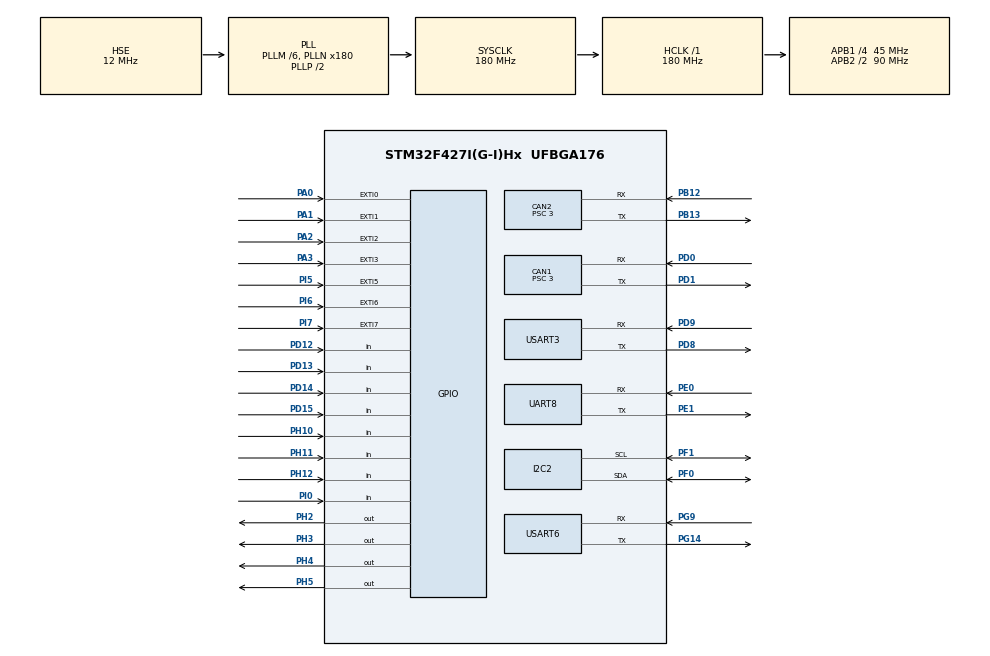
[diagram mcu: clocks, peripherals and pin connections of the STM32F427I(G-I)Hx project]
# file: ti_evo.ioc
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CAN1.BS1=CAN_BS1_7TQ
CAN1.BS2=CAN_BS2_7TQ
CAN1.CalculateBaudRate=1000000
CAN1.CalculateTimeBit=1000
CAN1.CalculateTimeQuantum=66.66666666666666
CAN1.Prescaler=3
CAN2.BS1=CAN_BS1_7TQ
CAN2.BS2=CAN_BS2_7TQ
CAN2.CalculateBaudRate=1000000
CAN2.CalculateTimeBit=1000
CAN2.CalculateTimeQuantum=66.66666666666666
CAN2.Prescaler=3
Dma.Request0=USART6_RX
Dma.Request1=UART8_RX
Dma.UART8_RX.1.Direction=DMA_PERIPH_TO_MEMORY
Dma.UART8_RX.1.FIFOMode=DMA_FIFOMODE_DISABLE
Dma.UART8_RX.1.Instance=DMA1_Stream6
Dma.UART8_RX.1.MemDataAlignment=DMA_MDATAALIGN_BYTE
Dma.UART8_RX.1.MemInc=DMA_MINC_ENABLE
Dma.UART8_RX.1.Mode=DMA_CIRCULAR
Dma.UART8_RX.1.PeriphDataAlignment=DMA_PDATAALIGN_BYTE
Dma.UART8_RX.1.PeriphInc=DMA_PINC_DISABLE
Dma.UART8_RX.1.Priority=DMA_PRIORITY_HIGH
Dma.USART6_RX.0.Direction=DMA_PERIPH_TO_MEMORY
Dma.USART6_RX.0.FIFOMode=DMA_FIFOMODE_DISABLE
Dma.USART6_RX.0.Instance=DMA2_Stream1
Dma.USART6_RX.0.MemDataAlignment=DMA_MDATAALIGN_BYTE
Dma.USART6_RX.0.MemInc=DMA_MINC_ENABLE
Dma.USART6_RX.0.Mode=DMA_CIRCULAR
Dma.USART6_RX.0.PeriphDataAlignment=DMA_PDATAALIGN_BYTE
Dma.USART6_RX.0.PeriphInc=DMA_PINC_DISABLE
Dma.USART6_RX.0.Priority=DMA_PRIORITY_HIGH
FREERTOS.Tasks01=defaultTask,0,128,StartDefaultTask,Default,NULL,Dynamic,NULL,NULL;myTask02,-3,128,StartTask02,Default,NULL,Dynamic,NULL,NULL
Mcu.Family=STM32F4
Mcu.Name=STM32F427I(G-I)Hx
Mcu.Package=UFBGA176
NVIC.CAN1_RX0_IRQn=true\:5\:0\:false\:false\:true\:true\:true\:true\:true
NVIC.CAN1_TX_IRQn=true\:5\:0\:false\:false\:true\:true\:true\:true\:true
NVIC.CAN2_RX0_IRQn=true\:5\:0\:false\:false\:true\:true\:true\:true\:true
NVIC.CAN2_TX_IRQn=true\:5\:0\:false\:false\:true\:true\:true\:true\:true
NVIC.DMA1_Stream6_IRQn=true\:5\:0\:false\:false\:true\:true\:false\:true\:true
NVIC.DMA2_Stream1_IRQn=true\:5\:0\:false\:false\:true\:true\:false\:true\:true
NVIC.I2C2_EV_IRQn=true\:5\:0\:false\:false\:true\:true\:true\:true\:true
NVIC.PriorityGroup=NVIC_PRIORITYGROUP_4
NVIC.TIM2_IRQn=true\:5\:0\:false\:false\:true\:true\:true\:true\:true
NVIC.TIM7_IRQn=true\:15\:0\:false\:false\:true\:false\:false\:true\:true
NVIC.TimeBase=TIM7_IRQn
NVIC.TimeBaseIP=TIM7
NVIC.UART8_IRQn=true\:5\:0\:false\:false\:true\:true\:true\:true\:true
NVIC.USART6_IRQn=true\:5\:0\:false\:false\:true\:true\:true\:true\:true
PA0/WKUP.GPIO_ModeDefaultEXTI=GPIO_MODE_IT_FALLING
PA0/WKUP.GPIO_PuPd=GPIO_PULLUP
PA0/WKUP.Signal=GPXTI0
PA1.GPIO_ModeDefaultEXTI=GPIO_MODE_IT_FALLING
PA1.GPIO_PuPd=GPIO_PULLUP
PA1.Signal=GPXTI1
PA13.Mode=Serial_Wire
PA13.Signal=SYS_JTMS-SWDIO
PA14.Mode=Serial_Wire
PA14.Signal=SYS_JTCK-SWCLK
PA2.GPIO_ModeDefaultEXTI=GPIO_MODE_IT_FALLING
PA2.GPIO_PuPd=GPIO_PULLUP
PA2.Signal=GPXTI2
PA3.GPIO_ModeDefaultEXTI=GPIO_MODE_IT_FALLING
PA3.GPIO_PuPd=GPIO_PULLUP
PA3.Signal=GPXTI3
PB12.Mode=CAN_Activate
PB12.Signal=CAN2_RX
PB13.Mode=CAN_Activate
PB13.Signal=CAN2_TX
PC14/OSC32_IN.Mode=LSE-External-Oscillator
PC14/OSC32_IN.Signal=RCC_OSC32_IN
PC15/OSC32_OUT.Mode=LSE-External-Oscillator
PC15/OSC32_OUT.Signal=RCC_OSC32_OUT
PD0.Mode=CAN_Activate
PD0.Signal=CAN1_RX
PD1.Mode=CAN_Activate
PD1.Signal=CAN1_TX
PD12.Signal=GPIO_Input
PD13.Signal=GPIO_Input
PD14.Signal=GPIO_Input
PD15.Signal=GPIO_Input
PD8.Mode=Asynchronous
PD8.Signal=USART3_TX
PD9.Mode=Asynchronous
PD9.Signal=USART3_RX
PE0.Mode=Asynchronous
PE0.Signal=UART8_RX
PE1.Mode=Asynchronous
PE1.Signal=UART8_TX
PF0.Mode=I2C
PF0.Signal=I2C2_SDA
PF1.Mode=I2C
PF1.Signal=I2C2_SCL
PG14.Mode=Asynchronous
PG14.Signal=USART6_TX
PG9.Mode=Asynchronous
PG9.Signal=USART6_RX
PH0/OSC_IN.Mode=HSE-External-Oscillator
PH0/OSC_IN.Signal=RCC_OSC_IN
PH1/OSC_OUT.Mode=HSE-External-Oscillator
PH1/OSC_OUT.Signal=RCC_OSC_OUT
PH10.Signal=GPIO_Input
PH11.Signal=GPIO_Input
PH12.Signal=GPIO_Input
PH2.GPIO_ModeDefaultOutputPP=GPIO_MODE_OUTPUT_PP
PH2.Signal=GPIO_Output
PH3.GPIO_ModeDefaultOutputPP=GPIO_MODE_OUTPUT_PP
PH3.Signal=GPIO_Output
PH4.GPIO_ModeDefaultOutputPP=GPIO_MODE_OUTPUT_PP
PH4.Signal=GPIO_Output
PH5.GPIO_ModeDefaultOutputPP=GPIO_MODE_OUTPUT_PP
PH5.Signal=GPIO_Output
PI0.Signal=GPIO_Input
PI5.GPIO_ModeDefaultEXTI=GPIO_MODE_IT_FALLING
PI5.GPIO_PuPd=GPIO_PULLUP
PI5.Signal=GPXTI5
PI6.GPIO_ModeDefaultEXTI=GPIO_MODE_IT_FALLING
PI6.GPIO_PuPd=GPIO_PULLUP
PI6.Signal=GPXTI6
PI7.GPIO_ModeDefaultEXTI=GPIO_MODE_IT_FALLING
PI7.GPIO_PuPd=GPIO_PULLUP
PI7.Signal=GPXTI7
ProjectManager.HeapSize=0x200
ProjectManager.StackSize=0x400
ProjectManager.TargetToolchain=CMake
RCC.48MHZClocksFreq_Value=90000000
RCC.AHBFreq_Value=180000000
RCC.APB1CLKDivider=RCC_HCLK_DIV4
RCC.APB1Freq_Value=45000000
RCC.APB1TimFreq_Value=90000000
RCC.APB2CLKDivider=RCC_HCLK_DIV2
RCC.APB2Freq_Value=90000000
RCC.APB2TimFreq_Value=180000000
RCC.CortexFreq_Value=180000000
RCC.HCLKFreq_Value=180000000
RCC.HSE_VALUE=12000000
RCC.HSI_VALUE=16000000
RCC.PLLM=6
RCC.PLLN=180
RCC.PLLSourceVirtual=RCC_PLLSOURCE_HSE
RCC.SYSCLKFreq_VALUE=180000000
RCC.SYSCLKSource=RCC_SYSCLKSOURCE_PLLCLK
RCC.VCOOutputFreq_Value=360000000
TIM2.AutoReloadPreload=TIM_AUTORELOAD_PRELOAD_ENABLE
TIM2.Period=99999
TIM2.Prescaler=89
UART8.VirtualMode=Asynchronous
USART3.VirtualMode=VM_ASYNC
USART6.VirtualMode=VM_ASYNC
VP_FREERTOS_VS_CMSIS_V1.Mode=CMSIS_V1
VP_SYS_VS_tim7.Mode=TIM7
VP_TIM2_VS_ClockSourceINT.Mode=Internal
board=custom

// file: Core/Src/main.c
/* USER CODE BEGIN Header */
/**
  ******************************************************************************
  * @file           : main.c
  * @brief          : Main program body
  ******************************************************************************
  * @attention
  *
  * Copyright (c) 2026 STMicroelectronics.
  * All rights reserved.
  *
  * This software is licensed under terms that can be found in the LICENSE file
  * in the root directory of this software component.
  * If no LICENSE file comes with this software, it is provided AS-IS.
  *
  ******************************************************************************
  */
/* USER CODE END Header */
#include "main.h"
#include "cmsis_os.h"
#include "can.h"
#include "dma.h"
#include "i2c.h"
#include "tim.h"
#include "usart.h"
#include "gpio.h"

/* USER CODE BEGIN Includes */
#include "wt_901.h"

/* USER CODE END Includes */

void SystemClock_Config(void);
void MX_FREERTOS_Init(void);

int main(void)
{

  /* MCU Configuration--------------------------------------------------------*/

  /* Reset of all peripherals, Initializes the Flash interface and the Systick. */
  HAL_Init();

  /* Configure the system clock */
  SystemClock_Config();

  /* Initialize all configured peripherals */
  MX_GPIO_Init();
  MX_DMA_Init();
  MX_CAN1_Init();
  MX_UART8_Init();
  MX_USART3_UART_Init();
  MX_USART6_UART_Init();
  MX_TIM2_Init();
  MX_CAN2_Init();
  MX_I2C2_Init();

  /* Call init function for freertos objects (in cmsis_os2.c) */
  MX_FREERTOS_Init();

  /* Start scheduler */
  osKernelStart();

  /* We should never get here as control is now taken by the scheduler */

  /* Infinite loop */
  while (1)
  {

  }
}

void SystemClock_Config(void)
{
  RCC_OscInitTypeDef RCC_OscInitStruct = {0};
  RCC_ClkInitTypeDef RCC_ClkInitStruct = {0};

  /** Configure the main internal regulator output voltage
  */
  __HAL_RCC_PWR_CLK_ENABLE();
  __HAL_PWR_VOLTAGESCALING_CONFIG(PWR_REGULATOR_VOLTAGE_SCALE1);

  /** Initializes the RCC Oscillators according to the specified parameters
  * in the RCC_OscInitTypeDef structure.
  */
  RCC_OscInitStruct.OscillatorType = RCC_OSCILLATORTYPE_HSE;
  RCC_OscInitStruct.HSEState = RCC_HSE_ON;
  RCC_OscInitStruct.PLL.PLLState = RCC_PLL_ON;
  RCC_OscInitStruct.PLL.PLLSource = RCC_PLLSOURCE_HSE;
  RCC_OscInitStruct.PLL.PLLM = 6;
  RCC_OscInitStruct.PLL.PLLN = 180;
  RCC_OscInitStruct.PLL.PLLP = RCC_PLLP_DIV2;
  RCC_OscInitStruct.PLL.PLLQ = 4;
  if (HAL_RCC_OscConfig(&RCC_OscInitStruct) != HAL_OK)
  {
    Error_Handler();
  }

  /** Activate the Over-Drive mode
  */
  if (HAL_PWREx_EnableOverDrive() != HAL_OK)
  {
    Error_Handler();
  }

  /** Initializes the CPU, AHB and APB buses clocks
  */
  RCC_ClkInitStruct.ClockType = RCC_CLOCKTYPE_HCLK|RCC_CLOCKTYPE_SYSCLK
                              |RCC_CLOCKTYPE_PCLK1|RCC_CLOCKTYPE_PCLK2;
  RCC_ClkInitStruct.SYSCLKSource = RCC_SYSCLKSOURCE_PLLCLK;
  RCC_ClkInitStruct.AHBCLKDivider = RCC_SYSCLK_DIV1;
  RCC_ClkInitStruct.APB1CLKDivider = RCC_HCLK_DIV4;
  RCC_ClkInitStruct.APB2CLKDivider = RCC_HCLK_DIV2;

  if (HAL_RCC_ClockConfig(&RCC_ClkInitStruct, FLASH_LATENCY_5) != HAL_OK)
  {
    Error_Handler();
  }
}

// void HAL_TIM_PeriodElapsedCallback(TIM_HandleTypeDef *htim)
// {
//   /* USER CODE BEGIN Callback 0 */
//
//   /* USER CODE END Callback 0 */
//   if (htim->Instance == TIM7)
//   {
//     HAL_IncTick();
//   }
//   /* USER CODE BEGIN Callback 1 */
//
//   /* USER CODE END Callback 1 */
// }

void Error_Handler(void)
{
  __disable_irq();
  while (1)
  {
  }
}

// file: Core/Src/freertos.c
/* USER CODE BEGIN Header */
/**
  ******************************************************************************
  * File Name          : freertos.c
  * Description        : Code for freertos applications
  ******************************************************************************
  * @attention
  *
  * Copyright (c) 2026 STMicroelectronics.
  * All rights reserved.
  *
  * This software is licensed under terms that can be found in the LICENSE file
  * in the root directory of this software component.
  * If no LICENSE file comes with this software, it is provided AS-IS.
  *
  ******************************************************************************
  */
/* USER CODE END Header */

#include "FreeRTOS.h"
#include "task.h"
#include "main.h"
#include "cmsis_os.h"

/* USER CODE BEGIN Includes */
#include "test_2.h"
#include "test_1.h"
#include "usart.h"
#include "oled_i2c.h"
/* USER CODE END Includes */

osThreadId defaultTaskHandle;
osThreadId myTask02Handle;

/* USER CODE BEGIN FunctionPrototypes */
osThreadId myTask_1Handle;
osThreadId myTask_2Handle;
/* USER CODE END FunctionPrototypes */

void StartDefaultTask(void const * argument);
void StartTask02(void const * argument);

void MX_FREERTOS_Init(void); /* (MISRA C 2004 rule 8.1) */

/* GetIdleTaskMemory prototype (linked to static allocation support) */
void vApplicationGetIdleTaskMemory( StaticTask_t **ppxIdleTaskTCBBuffer, StackType_t **ppxIdleTaskStackBuffer, uint32_t *pulIdleTaskStackSize );

/* USER CODE BEGIN GET_IDLE_TASK_MEMORY */
static StaticTask_t xIdleTaskTCBBuffer;
static StackType_t xIdleStack[configMINIMAL_STACK_SIZE];

void vApplicationGetIdleTaskMemory( StaticTask_t **ppxIdleTaskTCBBuffer, StackType_t **ppxIdleTaskStackBuffer, uint32_t *pulIdleTaskStackSize )
{
  *ppxIdleTaskTCBBuffer = &xIdleTaskTCBBuffer;
  *ppxIdleTaskStackBuffer = &xIdleStack[0];
  *pulIdleTaskStackSize = configMINIMAL_STACK_SIZE;
  /* place for user code */
}
/* USER CODE END GET_IDLE_TASK_MEMORY */

void MX_FREERTOS_Init(void) {

  /* Create the thread(s) */
  /* definition and creation of defaultTask */
  osThreadDef(defaultTask, StartDefaultTask, osPriorityNormal, 0, 128);
  defaultTaskHandle = osThreadCreate(osThread(defaultTask), NULL);

  /* definition and creation of myTask02 */
  osThreadDef(myTask02, StartTask02, osPriorityIdle, 0, 256);
  myTask02Handle = osThreadCreate(osThread(myTask02), NULL);

  /* USER CODE BEGIN RTOS_THREADS */
  osThreadDef(myTask_1, StartTask_1, osPriorityIdle, 0, 512);
  myTask_1Handle = osThreadCreate(osThread(myTask_1), NULL);

  osThreadDef(myTask_2, StartTask_2, osPriorityIdle, 0, 512);
  myTask_2Handle = osThreadCreate(osThread(myTask_2), NULL);

  /* add threads, ... */
  /* USER CODE END RTOS_THREADS */

}

/* USER CODE BEGIN Header_StartDefaultTask */
/**
  * @brief  Function implementing the defaultTask thread.
  * @param  argument: Not used
  * @retval None
  */
uint8_t add;
/* USER CODE END Header_StartDefaultTask */
void StartDefaultTask(void const * argument)
{
  for(;;)
  {
    osDelay(1);
  }
}

void StartTask02(void const * argument)
{
  /* USER CODE BEGIN StartTask02 */
  uint32_t last_display_ticks = UINT32_MAX;
  OLED_Init();
  /* Infinite loop */
  for(;;)
  {
    uint8_t adjustment_flash_finished = 0U;
    if (oled_stop_flash_requested)
    {
      oled_stop_flash_requested = 0U;
      OLED_SetInverted(1U);
      osDelay(1000);
      OLED_SetInverted(0U);
      if (lqr_adjustment_confirmed) adjustment_flash_finished = 1U;
    }

    if (lqr_adjustment_active || lqr_adjustment_confirmed)
    {
      int32_t quarter_cm = lqr_adjustment_confirmed
                             ? lqr_adjustment_final_quarter_cm
                             : lqr_adjustment_half_cm * 2;
      uint32_t magnitude = (uint32_t)((quarter_cm < 0) ? -quarter_cm : quarter_cm);
      OLED_Clear();
      OLED_SetCursor(0, 0);
      OLED_ShowString(lqr_adjustment_active ? "SET:" : "OK:");
      OLED_SetCursor(3, 0);
      OLED_ShowCharLarge((quarter_cm < 0) ? '-' : '+');
      OLED_ShowUIntLarge(magnitude / 4U);
      OLED_ShowCharLarge('.');
      uint32_t decimal = (magnitude % 4U) * 25U;
      OLED_ShowCharLarge((char)('0' + decimal / 10U));
      OLED_ShowCharLarge((char)('0' + decimal % 10U));
      OLED_Update();
      if (adjustment_flash_finished)
      {
        lqr_adjustment_confirm_until = HAL_GetTick() + 2000U;
        lqr_adjustment_flash_complete = 1U;
      }

      if (lqr_adjustment_confirmed &&
          (int32_t)(HAL_GetTick() - lqr_adjustment_confirm_until) >= 0)
      {
        lqr_adjustment_confirmed = 0U;
        last_display_ticks = UINT32_MAX;
      }
    }
    else if (oled_timing_enabled || oled_time_ticks != last_display_ticks)
    {
      uint32_t display_ticks = oled_time_ticks;
      last_display_ticks = display_ticks;
      OLED_Clear();
      OLED_SetCursor(0, 0);
      OLED_ShowString("TIME:");
      OLED_SetCursor(3, 0);
      OLED_ShowUIntLarge(display_ticks / 10U);
      OLED_ShowCharLarge('.');
      OLED_ShowUIntLarge(display_ticks % 10U);
      OLED_Update();
    }
    osDelay(500);
  }
  /* USER CODE END StartTask02 */
}
